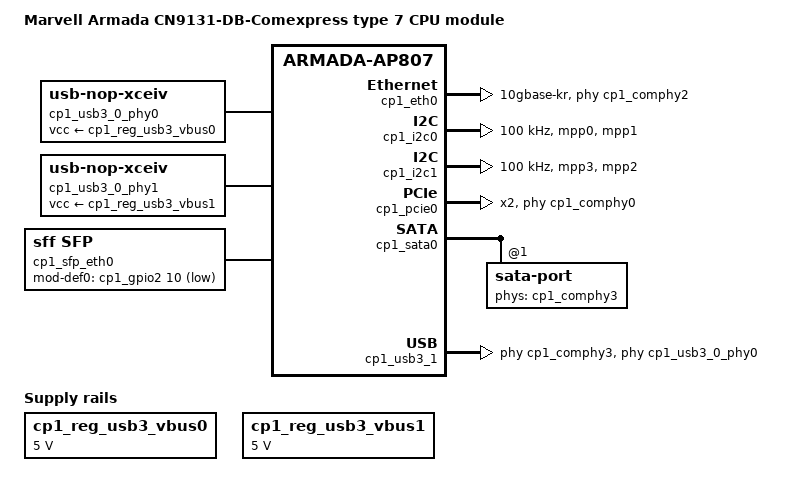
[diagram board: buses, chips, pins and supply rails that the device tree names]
// SPDX-License-Identifier: (GPL-2.0+ OR MIT)
/*
 * Copyright (C) 2019 Marvell International Ltd.
 *
 * Device tree for the CN9131 based COM Express type 7 board.
 */

#include "cn9130-db-comexpress.dts"

/ {
	model = "Marvell Armada CN9131-DB-Comexpress type 7 CPU module";
	compatible = "marvell,cn9131", "marvell,cn9130",
		     "marvell,armada-ap807-quad", "marvell,armada-ap807";

	aliases {
		i2c2 = &cp1_i2c0;
		i2c3 = &cp1_i2c1;
		gpio3 = &cp1_gpio1;
		gpio4 = &cp1_gpio2;
		ethernet3 = &cp1_eth0;
		ethernet4 = &cp1_eth1;
	};

	cp1_reg_usb3_vbus0: cp1_usb3_vbus@0 {
		compatible = "regulator-fixed";
		regulator-name = "cp1-xhci0-vbus";
		regulator-min-microvolt = <5000000>;
		regulator-max-microvolt = <5000000>;
		enable-active-high;
	};

	cp1_usb3_0_phy0: cp1_usb3_phy0 {
		compatible = "usb-nop-xceiv";
		vcc-supply = <&cp1_reg_usb3_vbus0>;
	};

	cp1_reg_usb3_vbus1: cp1_usb3_vbus@1 {
		compatible = "regulator-fixed";
		regulator-name = "cp1-xhci1-vbus";
		regulator-min-microvolt = <5000000>;
		regulator-max-microvolt = <5000000>;
		enable-active-high;
	};

	cp1_usb3_0_phy1: cp1_usb3_phy@1 {
		compatible = "usb-nop-xceiv";
		vcc-supply = <&cp1_reg_usb3_vbus1>;
	};

	cp1_sfp_eth0: sfp-eth0 {
		compatible = "sff,sfp";
		/*i2c-bus = <&cp1_i2c1>;*/
		mod-def0-gpio = <&cp1_gpio2 10 GPIO_ACTIVE_LOW>;
		pinctrl-names = "default";
		pinctrl-0 = <&cp1_sfp_present_pins>;
	};
};

/*
 * Instantiate the first slave CP115
 */

#define CP11X_NAME		cp1
#define CP11X_BASE		f4000000
#define CP11X_PCIEx_MEM_BASE(iface) (0xe2000000 + (iface * 0x1000000))
#define CP11X_PCIEx_MEM_SIZE(iface) 0xf00000
#define CP11X_PCIE0_BASE	f4600000
#define CP11X_PCIE1_BASE	f4620000
#define CP11X_PCIE2_BASE	f4640000

#include "armada-cp115.dtsi"

#undef CP11X_NAME
#undef CP11X_BASE
#undef CP11X_PCIEx_MEM_BASE
#undef CP11X_PCIEx_MEM_SIZE
#undef CP11X_PCIE0_BASE
#undef CP11X_PCIE1_BASE
#undef CP11X_PCIE2_BASE

&cp1_crypto {
	status = "disabled";
};

&cp1_ethernet {
	status = "disabled";
};

/* CON50 */
&cp1_eth0 {
	status = "okay";
	phy-mode = "10gbase-kr";
	/* Generic PHY, providing serdes lanes */
	phys = <&cp1_comphy2 0>;
	managed = "in-band-status";
	sfp = <&cp1_sfp_eth0>;
};

&cp1_eth1 {
	status = "disabled";
};

&cp1_eth2 {
	status = "disabled";
};

&cp1_gpio1 {
	status = "okay";
};

&cp1_gpio2 {
	status = "okay";
};

/*
 *  CP1_I2C1 MPP[02:03]
 *  or
 *  CP1_I2C1 MPP[35:36]
 *
 *  CP1_MSSI2C? MPP[00:01]
 *  or
 *  CP1_MSSI2C? MPP[50:51]
 */
&cp1_i2c0 {
	status = "okay";
	pinctrl-names = "default";
	pinctrl-0 = <&cp1_mss_i2c0_pins>;
	clock-frequency = <100000>;
};

&cp1_i2c1 {
	status = "okay";
	pinctrl-names = "default";
	pinctrl-0 = <&cp1_i2c1_pins>;
	clock-frequency = <100000>;
};

/*
 * Comphy chip #1:
 * Comphy-0: PEX0
 * Comphy-1: PEX0
 * Comphy-2: SFI0          10.3125 Gbps
 * Comphy-3: SATA1
 * Comphy-4: PEX1
 * Comphy-5: PEX2
 */

/* PCIE X2 NVME */
&cp1_pcie0 {
	num-lanes = <2>;
	num-viewport = <8>;
	marvell,reset-gpio = <&cp1_gpio1 0 GPIO_ACTIVE_HIGH>;
	status = "okay";
	/* Generic PHY, providing serdes lanes */
	phys = <&cp1_comphy0 0
		&cp1_comphy1 0>;
};

&cp1_sata0 {
	status = "okay";

	/* CON32 */
	sata-port@1 {
		/* Generic PHY, providing serdes lanes */
		phys = <&cp1_comphy3 1>;
	};
};

&cp1_syscon0 {
	cp1_pinctrl: pinctrl {
		compatible = "marvell,cp115-standalone-pinctrl";

		cp1_i2c1_pins: cp1-i2c-pins-1 {
			marvell,pins = "mpp3", "mpp2";
			marvell,function = "i2c1";
		};
		cp1_mss_i2c0_pins: cp1-mss-i2c-pins-1 {
			marvell,pins = "mpp0", "mpp1";
			marvell,function = "mss_i2c";
		};
		cp1_xmdio_pins: cp1_xmdio_pins-0 {
			marvell,pins = "mpp37", "mpp38";
			marvell,function = "xg";
		};
		cp1_sfp_present_pins: cp1_sfp_present_pins-0 {
			marvell,pins = "mpp50";
			marvell,function = "gpio";
		};
	};
};

/* CON58 */
&cp1_usb3_1 {
	status = "okay";
	usb-phy = <&cp1_usb3_0_phy0>;
	/* Generic PHY, providing serdes lanes */
	phys = <&cp1_comphy3 1>;
	phy-names = "usb";
};
